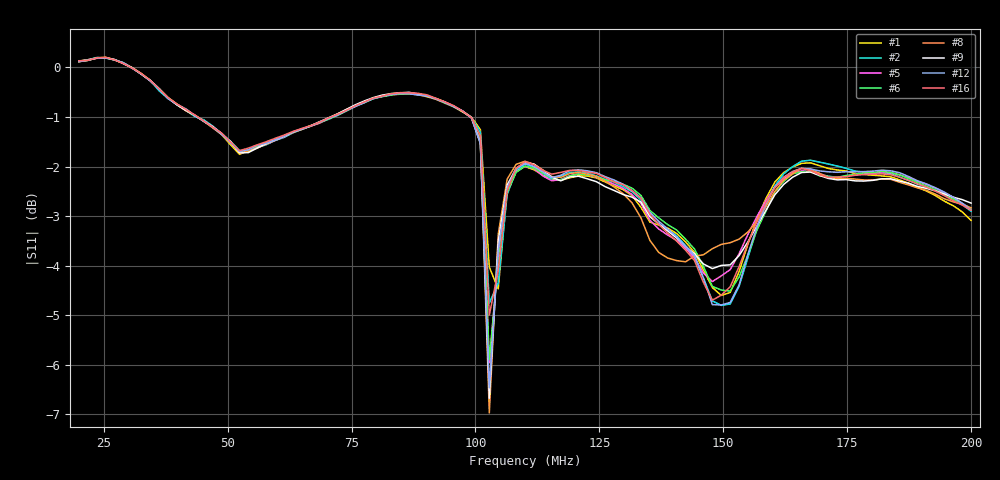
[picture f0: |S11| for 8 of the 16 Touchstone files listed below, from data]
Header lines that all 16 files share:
# HZ S RI R 50
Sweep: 20 MHz to 200 MHz
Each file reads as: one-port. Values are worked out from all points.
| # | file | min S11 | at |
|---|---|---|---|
| 1 | 38.6C.s1p | -4.6 dB | 149.6 MHz |
| 2 | 41.1C.s1p | -4.8 dB | 149.6 MHz |
| 3 | 43.2C.s1p | -6.1 dB | 102.8 MHz |
| 4 | 47.0C.s1p | -6.1 dB | 102.8 MHz |
| 5 | 48.0C.s1p | -6.0 dB | 102.8 MHz |
| 6 | 49.15C.s1p | -5.9 dB | 102.8 MHz |
| 7 | 54.3C.s1p | -6.3 dB | 102.8 MHz |
| 8 | 55.1C.s1p | -7.0 dB | 102.8 MHz |
| 9 | 56.1C.s1p | -6.7 dB | 102.8 MHz |
| 10 | 57.2C.s1p | -6.4 dB | 102.8 MHz |
| 11 | 58.9C.s1p | -6.4 dB | 102.8 MHz |
| 12 | 58.35C.s1p | -6.5 dB | 102.8 MHz |
| 13 | 61.0C.s1p | -6.3 dB | 102.8 MHz |
| 14 | 63.8C.s1p | -6.1 dB | 102.8 MHz |
| 15 | 66.9C.s1p | -5.4 dB | 102.8 MHz |
| 16 | 68.3C.s1p | -5.0 dB | 102.8 MHz |
